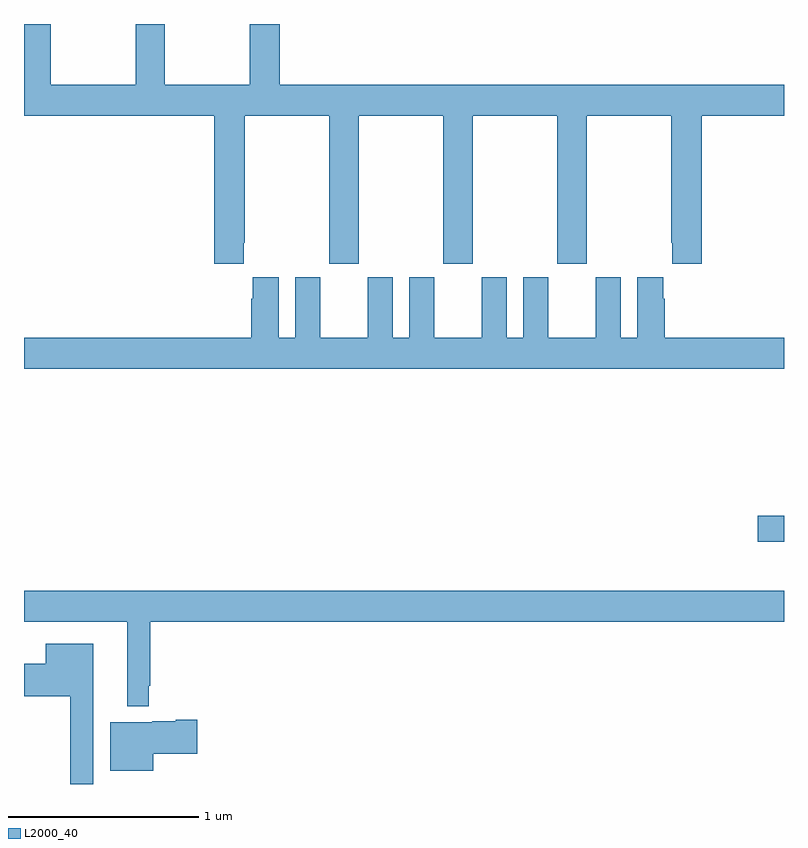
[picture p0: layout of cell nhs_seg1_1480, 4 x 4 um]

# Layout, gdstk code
import gdstk
lib = gdstk.Library(unit=1e-6, precision=1e-09)
def R(c, l, rs):  # rectangles x0, y0, x1, y1
    for r in rs: c.add(gdstk.rectangle(r[:2], r[2:], *l))
def P(c, l, *ps):  # polygons
    for p in ps: c.add(gdstk.Polygon(p, *l))
L2000_40 = (2000, 40)

nhs_seg1_1480 = lib.new_cell('nhs_seg1_1480')
R(nhs_seg1_1480, L2000_40, [(194.862,565.475,195,565.61)])
P(nhs_seg1_1480, L2000_40, [(192.157,567.049),(192.162,567.049),(192.162,567.716),(192.607,567.716),(192.607,566.937),(192.762,566.937),(192.762,567.716),(193.207,567.716),(193.207,566.937),(193.362,566.937),(193.362,567.716),(193.807,567.716),(193.807,566.937),(193.962,566.937),(193.962,567.716),(194.407,567.716),(194.407,567.049),(194.411,567.049),(194.411,566.937),(194.567,566.937),(194.567,567.716),(195,567.716),(195,567.88),(192.347,567.88),(192.347,568.199),(192.187,568.199),(192.187,567.88),(191.742,567.88),(191.742,568.199),(191.587,568.199),(191.587,567.88),(191.142,567.88),(191.142,568.199),(191,568.199),(191,567.716),(192.002,567.716),(192.002,566.937),(192.157,566.937)],
  [(195,566.548),(194.372,566.548),(194.372,566.753),(194.365,566.753),(194.365,566.866),(194.228,566.866),(194.228,566.548),(194.14,566.548),(194.14,566.866),(194.009,566.866),(194.009,566.548),(193.759,566.548),(193.759,566.866),(193.628,566.866),(193.628,566.548),(193.54,566.548),(193.54,566.866),(193.409,566.866),(193.409,566.548),(193.159,566.548),(193.159,566.866),(193.028,566.866),(193.028,566.548),(192.94,566.548),(192.94,566.866),(192.809,566.866),(192.809,566.548),(192.559,566.548),(192.559,566.866),(192.428,566.866),(192.428,566.548),(192.34,566.548),(192.34,566.866),(192.203,566.866),(192.203,566.753),(192.197,566.753),(192.197,566.548),(191,566.548),(191,566.384),(195,566.384)],
  [(191.657,564.715),(191.665,564.715),(191.665,565.052),(195,565.052),(195,565.216),(191,565.216),(191,565.052),(191.543,565.052),(191.543,564.608),(191.657,564.608)],
  [(191.365,564.937),(191.114,564.937),(191.114,564.832),(191,564.832),(191,564.662),(191.244,564.662),(191.244,564.199),(191.365,564.199)],
  [(191.68,564.358),(191.911,564.358),(191.911,564.536),(191.798,564.536),(191.798,564.529),(191.676,564.529),(191.676,564.523),(191.453,564.523),(191.453,564.269),(191.68,564.269)])

lib.write_gds('nhs_seg1_1480.gds')
